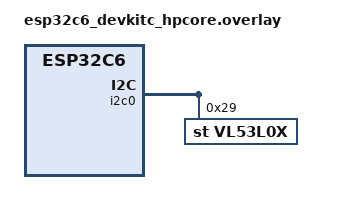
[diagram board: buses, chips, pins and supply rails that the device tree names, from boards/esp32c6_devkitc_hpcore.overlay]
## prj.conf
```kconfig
CONFIG_I2C=y
CONFIG_SENSOR=y
CONFIG_VL53L0X=y
CONFIG_STDOUT_CONSOLE=y
CONFIG_LOG=y

# Ensure VL53L0X inits after our XSHUT enable (we run at 51).
CONFIG_SENSOR_INIT_PRIORITY=95
```

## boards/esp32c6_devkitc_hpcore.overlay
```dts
/*
 * SPDX-License-Identifier: Apache-2.0
 * 
 * Overlay for custom ESP32C6 PCB
 * Override I2C pin assignments to match your PCB
 */

&pinctrl {
	i2c0_default: i2c0_default {
		group1 {
			pinmux = <I2C0_SDA_GPIO15>,  
				 <I2C0_SCL_GPIO14>;  
			bias-pull-up;
			drive-open-drain;
			output-high;
		};
	};
};

&i2c0 {
	status = "okay";
	pinctrl-0 = <&i2c0_default>;
	pinctrl-names = "default";

	/* VL53L0X Time-of-Flight sensor at I2C address 0x29 */
	vl53l0x: vl53l0x@29 {
		compatible = "st,vl53l0x";
		reg = <0x29>;
		status = "okay";
	};
};

/ {
	/* Define aliases for easier access in code */
	aliases {
		vl53l0x = &vl53l0x;
	};
};
```

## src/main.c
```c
/*
 * SPDX-License-Identifier: Apache-2.0
 *
 * Enable ToF at 0x29 via XSHUT (ADS7128 GPIO 6), then run VL53L0X distance loop.
 * No address reassignment.
 */

#include <zephyr/kernel.h>
#include <zephyr/device.h>
#include <zephyr/drivers/i2c.h>
#include <zephyr/drivers/sensor.h>
#include <zephyr/init.h>
#include <errno.h>
#include <stdio.h>

#define I2C_NODE            DT_NODELABEL(i2c0)

#define ADS7128_ADDR        0x17
#define ADS7128_REG_GPIO_CFG   0x20
#define ADS7128_REG_GPIO_DATA  0x21
#define TOF_XSHUT_GPIO  6

static int ads7128_write_reg(const struct device *i2c_dev,
			     uint8_t reg, uint8_t value)
{
	uint8_t buf[2] = { reg, value };
	return i2c_write(i2c_dev, buf, sizeof(buf), ADS7128_ADDR);
}

static int ads7128_read_reg(const struct device *i2c_dev,
			    uint8_t reg, uint8_t *value)
{
	int ret = i2c_write(i2c_dev, &reg, 1, ADS7128_ADDR);
	if (ret < 0) return ret;
	return i2c_read(i2c_dev, value, 1, ADS7128_ADDR);
}

static int ads7128_xshut_on(const struct device *i2c_dev)
{
	int ret;
	uint8_t data;
	ret = ads7128_read_reg(i2c_dev, ADS7128_REG_GPIO_DATA, &data);
	if (ret < 0) return ret;
	data |= BIT(TOF_XSHUT_GPIO);
	return ads7128_write_reg(i2c_dev, ADS7128_REG_GPIO_DATA, data);
}

/*
 * Enable ToF XSHUT (GPIO 6 high) before VL53L0X driver inits.
 */
static int enable_tof_xshut_init(void)
{
	const struct device *i2c_dev = DEVICE_DT_GET(I2C_NODE);

	for (int i = 0; i < 25; i++) {
		if (device_is_ready(i2c_dev)) break;
		k_msleep(1);
	}
	if (!device_is_ready(i2c_dev)) return -ENODEV;

	if (ads7128_write_reg(i2c_dev, ADS7128_REG_GPIO_CFG, BIT(TOF_XSHUT_GPIO)) < 0)
		return -EIO;
	if (ads7128_write_reg(i2c_dev, ADS7128_REG_GPIO_DATA, 0) < 0)
		return -EIO;
	k_msleep(10);
	if (ads7128_xshut_on(i2c_dev) < 0) return -EIO;
	/* VL53L0X needs time after XSHUT before StaticInit (avoid -12 timeout). */
	k_msleep(2000);
	return 0;
}

SYS_INIT(enable_tof_xshut_init, POST_KERNEL, 51);

int main(void)
{
	const struct device *i2c_dev = DEVICE_DT_GET(I2C_NODE);
	const struct device *vl53l0x;
	struct sensor_value distance;
	int ret;

	if (!device_is_ready(i2c_dev)) {
		printf("I2C not ready.\n");
		return 1;
	}

	vl53l0x = DEVICE_DT_GET_ONE(st_vl53l0x);
	if (!device_is_ready(vl53l0x)) {
		printf("VL53L0X not ready (ToF at 0x29). Driver init failed at boot.\n");
		printf("Add CONFIG_LOG=y and CONFIG_VL53L0X_LOG_LEVEL_DBG=y in prj.conf to see why.\n");
		return 1;
	}

	printf("VL53L0X at 0x29: distance loop\n\n");
	while (1) {
		ret = sensor_sample_fetch(vl53l0x);
		if (ret < 0) {
			printf("sample_fetch failed (%d)\n", ret);
			k_msleep(1000);
			continue;
		}
		ret = sensor_channel_get(vl53l0x, SENSOR_CHAN_DISTANCE, &distance);
		if (ret < 0) {
			printf("channel_get failed (%d)\n", ret);
		} else {
			printf("distance = %lld mm\n", sensor_value_to_milli(&distance));
		}
		k_msleep(1000);
	}
	return 0;
}
```
